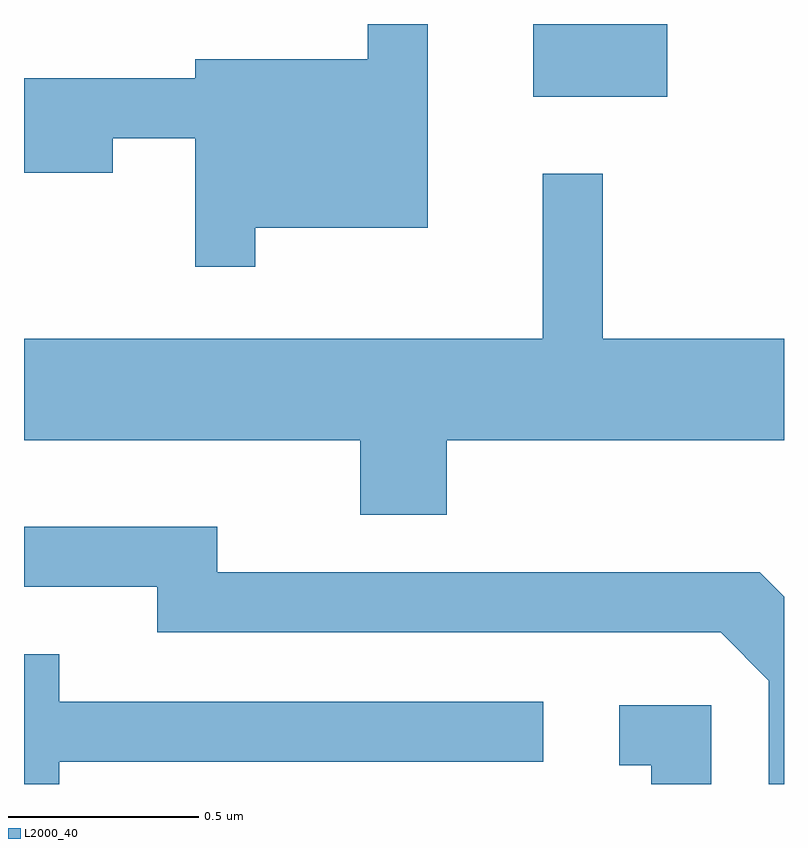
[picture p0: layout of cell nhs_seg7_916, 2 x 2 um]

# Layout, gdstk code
import gdstk
lib = gdstk.Library(unit=1e-6, precision=1e-09)
def R(c, l, rs):  # rectangles x0, y0, x1, y1
    for r in rs: c.add(gdstk.rectangle(r[:2], r[2:], *l))
def P(c, l, *ps):  # polygons
    for p in ps: c.add(gdstk.Polygon(p, *l))
L2000_40 = (2000, 40)

nhs_seg7_916 = lib.new_cell('nhs_seg7_916')
R(nhs_seg7_916, L2000_40, [(192.951,1764.061,193.304,1764.252)])
P(nhs_seg7_916, L2000_40, [(192.219,1763.716),(192.674,1763.716),(192.674,1764.252),(192.516,1764.252),(192.516,1764.159),(192.061,1764.159),(192.061,1764.109),(191.611,1764.109),(191.611,1763.861),(191.844,1763.861),(191.844,1763.951),(192.061,1763.951),(192.061,1763.613),(192.219,1763.613)],
  [(192.724,1763.156),(193.611,1763.156),(193.611,1763.424),(193.134,1763.424),(193.134,1763.858),(192.976,1763.858),(192.976,1763.424),(191.611,1763.424),(191.611,1763.156),(192.496,1763.156),(192.496,1762.961),(192.724,1762.961)],
  [(193.611,1762.745),(193.547,1762.809),(192.119,1762.809),(192.119,1762.929),(191.611,1762.929),(191.611,1762.771),(191.961,1762.771),(191.961,1762.651),(193.444,1762.651),(193.571,1762.524),(193.571,1762.252),(193.611,1762.252)],
  [(191.704,1762.311),(192.978,1762.311),(192.978,1762.469),(191.704,1762.469),(191.704,1762.593),(191.611,1762.593),(191.611,1762.252),(191.704,1762.252)],
  [(193.419,1762.459),(193.178,1762.459),(193.178,1762.301),(193.261,1762.301),(193.261,1762.252),(193.419,1762.252)])

lib.write_gds('nhs_seg7_916.gds')
